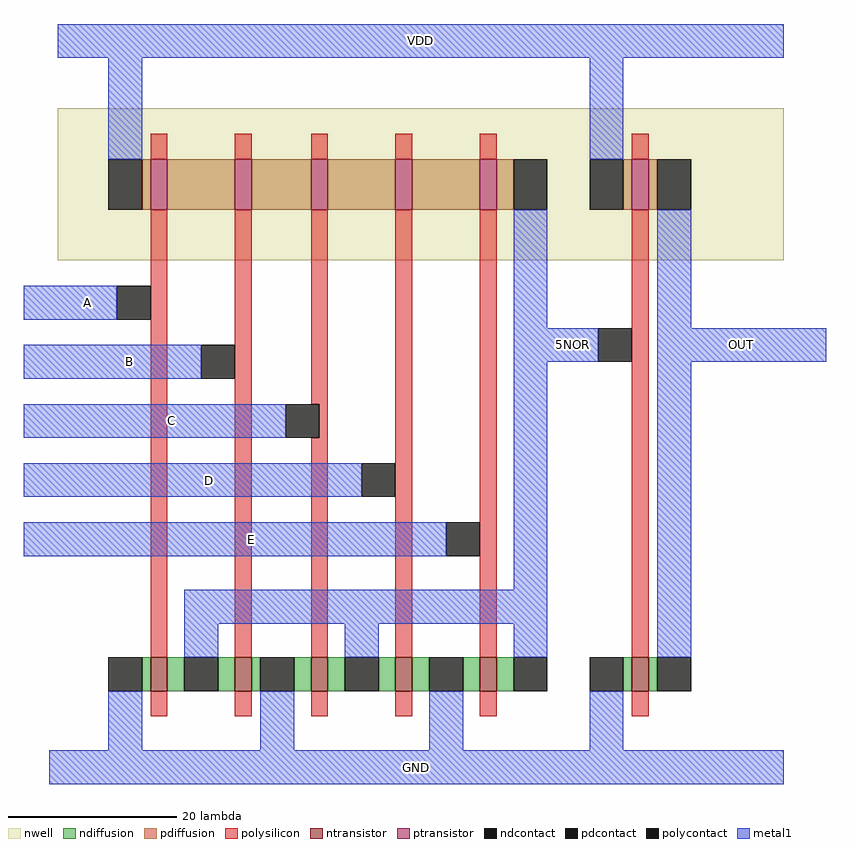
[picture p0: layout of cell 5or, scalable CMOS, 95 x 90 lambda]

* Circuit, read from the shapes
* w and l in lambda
.subckt 5or 5NOR A B C D E GND OUT VDD
M1 5NOR A GND VSUBS nfet w=4 l=2
M2 GND B 5NOR VSUBS nfet w=4 l=2
M3 5NOR C GND VSUBS nfet w=4 l=2
M4 GND D 5NOR VSUBS nfet w=4 l=2
M5 5NOR E GND VSUBS nfet w=4 l=2
M6 OUT 5NOR GND VSUBS nfet w=4 l=2
M7 n1 A VDD n2 pfet w=6 l=2
M8 n3 B n1 n2 pfet w=6 l=2
M9 n4 C n3 n2 pfet w=6 l=2
M10 n5 D n4 n2 pfet w=6 l=2
M11 5NOR E n5 n2 pfet w=6 l=2
M12 OUT 5NOR VDD n2 pfet w=6 l=2
.ends

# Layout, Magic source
magic
tech scmos
<< nwell >>
rect -13 7 73 25
<< ntransistor >>
rect -2 -44 0 -40
rect 8 -44 10 -40
rect 17 -44 19 -40
rect 27 -44 29 -40
rect 37 -44 39 -40
rect 55 -44 57 -40
<< ptransistor >>
rect -2 13 0 19
rect 8 13 10 19
rect 17 13 19 19
rect 27 13 29 19
rect 37 13 39 19
rect 55 13 57 19
<< ndiffusion >>
rect -3 -44 -2 -40
rect 0 -44 2 -40
rect 6 -44 8 -40
rect 10 -44 11 -40
rect 15 -44 17 -40
rect 19 -44 21 -40
rect 25 -44 27 -40
rect 29 -44 31 -40
rect 35 -44 37 -40
rect 39 -44 41 -40
rect 54 -44 55 -40
rect 57 -44 58 -40
<< pdiffusion >>
rect -3 13 -2 19
rect 0 13 8 19
rect 10 13 17 19
rect 19 13 27 19
rect 29 13 37 19
rect 39 13 41 19
rect 54 13 55 19
rect 57 13 58 19
<< ndcontact >>
rect -7 -44 -3 -40
rect 2 -44 6 -40
rect 11 -44 15 -40
rect 21 -44 25 -40
rect 31 -44 35 -40
rect 41 -44 45 -40
rect 50 -44 54 -40
rect 58 -44 62 -40
<< pdcontact >>
rect -7 13 -3 19
rect 41 13 45 19
rect 50 13 54 19
rect 58 13 62 19
<< polysilicon >>
rect -2 19 0 22
rect 8 19 10 22
rect 17 19 19 22
rect 27 19 29 22
rect 37 19 39 22
rect 55 19 57 22
rect -2 -40 0 13
rect 8 -40 10 13
rect 17 -10 19 13
rect 18 -14 19 -10
rect 17 -40 19 -14
rect 27 -40 29 13
rect 37 -40 39 13
rect 55 -40 57 13
rect -2 -47 0 -44
rect 8 -47 10 -44
rect 17 -47 19 -44
rect 27 -47 29 -44
rect 37 -47 39 -44
rect 55 -47 57 -44
<< polycontact >>
rect -6 0 -2 4
rect 4 -7 8 -3
rect 14 -14 18 -10
rect 23 -21 27 -17
rect 33 -28 37 -24
rect 51 -5 55 -1
<< metal1 >>
rect -13 31 73 35
rect -7 19 -3 31
rect 50 19 54 31
rect -17 0 -6 4
rect 41 -1 45 13
rect 58 -1 62 13
rect -17 -7 4 -3
rect 41 -5 51 -1
rect 58 -5 78 -1
rect -17 -14 14 -10
rect -17 -21 23 -17
rect -17 -28 33 -24
rect 41 -32 45 -5
rect 2 -36 45 -32
rect 2 -40 6 -36
rect 21 -40 25 -36
rect 41 -40 45 -36
rect 58 -40 62 -5
rect -7 -51 -3 -44
rect 11 -51 15 -44
rect 31 -51 35 -44
rect 50 -51 54 -44
rect -14 -55 73 -51
<< labels >>
rlabel metal1 -17 -7 8 -3 1 B
rlabel metal1 -17 0 -2 4 1 A
rlabel metal1 -17 -14 18 -10 1 C
rlabel metal1 -17 -21 27 -17 1 D
rlabel metal1 58 -5 78 -1 1 OUT
rlabel metal1 -13 31 73 35 5 VDD
rlabel metal1 41 -5 55 -1 1 5NOR
rlabel metal1 -14 -55 73 -51 1 GND
rlabel metal1 -17 -28 37 -24 1 E
<< end >>
